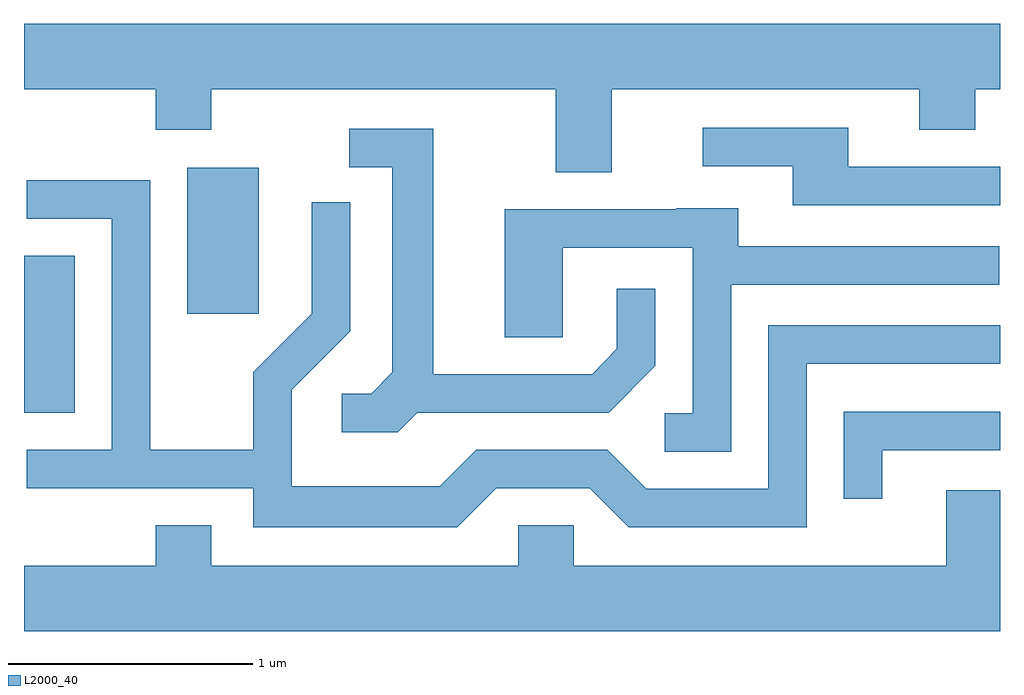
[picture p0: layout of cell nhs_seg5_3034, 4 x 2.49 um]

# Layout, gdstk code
import gdstk
lib = gdstk.Library(unit=1e-6, precision=1e-09)
def R(c, l, rs):  # rectangles x0, y0, x1, y1
    for r in rs: c.add(gdstk.rectangle(r[:2], r[2:], *l))
def P(c, l, *ps):  # polygons
    for p in ps: c.add(gdstk.Polygon(p, *l))
L2000_40 = (2000, 40)

nhs_seg5_3034 = lib.new_cell('nhs_seg5_3034')
R(nhs_seg5_3034, L2000_40, [(275.611,1435.491,275.819,1436.134), (276.281,1435.896,276.574,1436.494)])
P(nhs_seg5_3034, L2000_40, [(278.019,1436.816),(279.281,1436.816),(279.281,1436.651),(279.509,1436.651),(279.509,1436.816),(279.611,1436.816),(279.611,1437.084),(275.611,1437.084),(275.611,1436.816),(276.151,1436.816),(276.151,1436.651),(276.379,1436.651),(276.379,1436.816),(277.791,1436.816),(277.791,1436.476),(278.019,1436.476)],
  [(279.611,1436.499),(278.989,1436.499),(278.989,1436.659),(278.393,1436.659),(278.393,1436.501),(278.761,1436.501),(278.761,1436.341),(279.611,1436.341)],
  [(277.222,1435.491),(278.007,1435.491),(278.199,1435.684),(278.199,1435.998),(278.041,1435.998),(278.041,1435.752),(277.939,1435.649),(277.289,1435.649),(277.289,1436.654),(276.943,1436.654),(276.943,1436.496),(277.121,1436.496),(277.121,1435.657),(277.034,1435.569),(276.913,1435.569),(276.913,1435.411),(277.142,1435.411)],
  [(277.547,1435.181),(277.929,1435.181),(278.089,1435.021),(278.819,1435.021),(278.819,1435.691),(279.611,1435.691),(279.611,1435.849),(278.661,1435.849),(278.661,1435.179),(278.162,1435.179),(278.002,1435.339),(277.464,1435.339),(277.314,1435.189),(276.709,1435.189),(276.709,1435.584),(276.949,1435.824),(276.949,1436.353),(276.791,1436.353),(276.791,1435.897),(276.551,1435.657),(276.551,1435.339),(276.129,1435.339),(276.129,1436.444),(275.623,1436.444),(275.623,1436.286),(275.971,1436.286),(275.971,1435.339),(275.623,1435.339),(275.623,1435.181),(276.551,1435.181),(276.551,1435.021),(277.387,1435.021)],
  [(278.509,1436.016),(279.608,1436.016),(279.608,1436.174),(278.539,1436.174),(278.539,1436.329),(278.285,1436.329),(278.285,1436.324),(277.581,1436.324),(277.581,1435.801),(277.819,1435.801),(277.819,1436.166),(278.351,1436.166),(278.351,1435.489),(278.238,1435.489),(278.238,1435.331),(278.509,1435.331)],
  [(279.129,1435.336),(279.611,1435.336),(279.611,1435.494),(278.971,1435.494),(278.971,1435.138),(279.129,1435.138)],
  [(279.611,1435.174),(279.391,1435.174),(279.391,1434.864),(277.864,1434.864),(277.864,1435.029),(277.636,1435.029),(277.636,1434.864),(276.379,1434.864),(276.379,1435.029),(276.151,1435.029),(276.151,1434.864),(275.611,1434.864),(275.611,1434.596),(279.611,1434.596)])

lib.write_gds('nhs_seg5_3034.gds')
